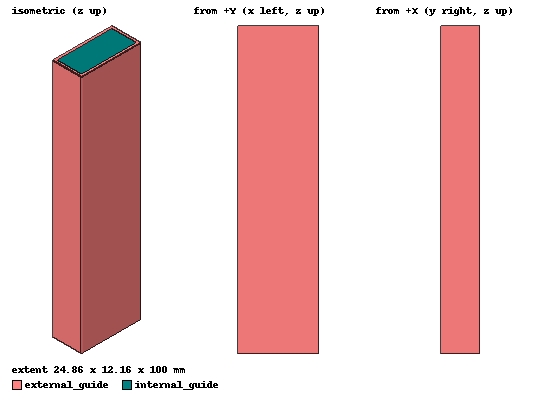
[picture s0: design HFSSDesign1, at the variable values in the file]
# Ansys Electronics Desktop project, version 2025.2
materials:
  vacuum: permittivity=1
  copper: permeability=0.999991 conductivity=58000000

design HFSSDesign1 (HFSS, HFSS Modal Network, model units mm)
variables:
  w = 22.86mm
  h = 10.16mm
  l = 100mm
  em = 1mm
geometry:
  internal_guide [vacuum] = box(corner=(-w/2, 0mm, 0mm), size=(w, h, l))
  external_guide [copper] = box(corner=(-w/2-em, -em, 0mm), size=(w+2*em, h+2*em, l))
  internal_guide_1 = internal_guide.copy()
  external_guide.subtract(internal_guide_1)
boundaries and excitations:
  1: Wave Port Faces=internal_guide.face(-z) external_guide.face(-z) WavePortType=Modal NumModes=2 Modes{Mode1{IntLine{(0, 0, 0) -> (0mm, 10000mm, 0mm)} CharImp=Zpi} Mode2{IntLine{(0, 0, 0) -> (0mm, 10000mm, 0mm)} CharImp=Zpi}}
  2: Wave Port Faces=internal_guide.face(+z) external_guide.face(+z) WavePortType=Modal NumModes=2 Modes{Mode1{IntLine{(0, 0, 100) -> (0mm, 10000mm, 100000mm)} CharImp=Zpi} Mode2{IntLine{(0, 0, 100) -> (0mm, 10000mm, 100000mm)} CharImp=Zpi}}
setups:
  Setup1: HfssDriven Frequency=10GHz MaxDeltaS=0.001 MaximumPasses=10 MinimumPasses=1 MinimumConvergedPasses=1 PercentRefinement=30 BasisOrder=1 PortAccuracy=2 DrivenSolverType="Direct Solver"
    sweep Sweep: 6GHz to 14GHz step 0.1GHz; Type=Interpolating InterpTolerance=0.5 InterpMaxSolns=250 InterpUsePortImped=false PassivityErrorTolerance=0.0001
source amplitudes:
  1:1: 1W 0deg
  1:2, 2:1, 2:2: 0W 0deg
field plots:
  Mesh1: MeshPlots over internal_guide.face(all 6) external_guide.face(all 10) on Setup1 : LastAdaptive at Freq=10GHz Phase=0deg
  Mag_E1: E Field over internal_guide.face(all 6) external_guide.face(all 10) on Setup1 : LastAdaptive at Freq=10GHz Phase=0deg
  Mag_H1: H Field over internal_guide.face(all 6) external_guide.face(all 10) on Setup1 : LastAdaptive at Freq=10GHz Phase=0deg
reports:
  S Parameter Plot1: dB(S(1:1,1:1)), dB(S(2:1,1:1)), dB(S(1:2,1:2)), dB(S(2:2,1:2)) vs Freq on Setup1 : Sweep
